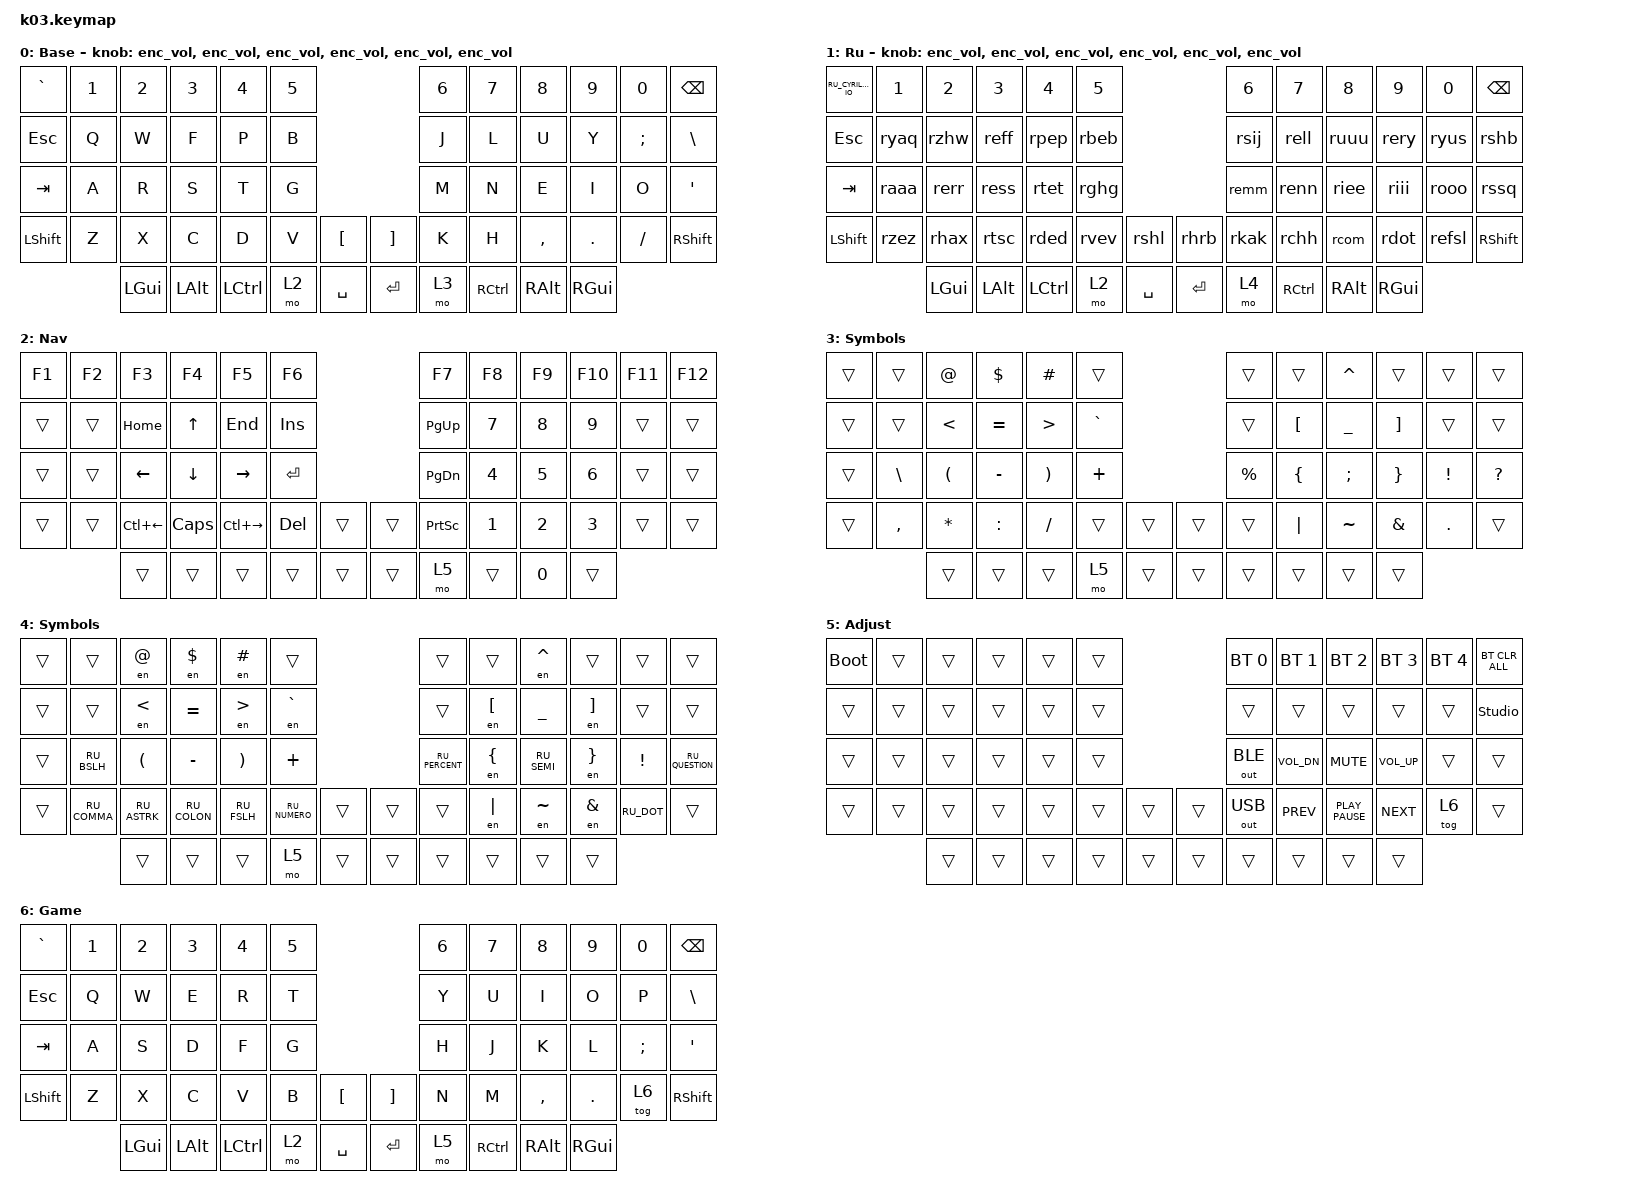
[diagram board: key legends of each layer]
#include "keys_ru.h"
#include <behaviors.dtsi>
#include <dt-bindings/zmk/modifiers.h>
#include <dt-bindings/zmk/bt.h>
#include <dt-bindings/zmk/keys.h>
#include <dt-bindings/zmk/outputs.h>

/ {
    behaviors {
        enc_vol: enc_vol {
            compatible = "zmk,behavior-sensor-rotate";
            label = "ENC_VOL";
            #sensor-binding-cells = <0>;
            bindings = <&kp C_VOL_UP>, <&kp C_VOL_DN>;
        };
        ryaq: ryaq { compatible = "zmk,behavior-mod-morph"; #binding-cells = <0>; bindings = <&kp RU_CYRILLIC_YA>, <&kp Q>; mods = <(MOD_LCTL|MOD_RCTL|MOD_LGUI|MOD_RGUI)>; keep-mods = <(MOD_LCTL|MOD_RCTL|MOD_LGUI|MOD_RGUI)>; };
        rzhw: rzhw { compatible = "zmk,behavior-mod-morph"; #binding-cells = <0>; bindings = <&kp RU_CYRILLIC_ZHE>, <&kp W>; mods = <(MOD_LCTL|MOD_RCTL|MOD_LGUI|MOD_RGUI)>; keep-mods = <(MOD_LCTL|MOD_RCTL|MOD_LGUI|MOD_RGUI)>; };
        reff: reff { compatible = "zmk,behavior-mod-morph"; #binding-cells = <0>; bindings = <&kp RU_CYRILLIC_EF>, <&kp F>; mods = <(MOD_LCTL|MOD_RCTL|MOD_LGUI|MOD_RGUI)>; keep-mods = <(MOD_LCTL|MOD_RCTL|MOD_LGUI|MOD_RGUI)>; };
        rpep: rpep { compatible = "zmk,behavior-mod-morph"; #binding-cells = <0>; bindings = <&kp RU_CYRILLIC_PE>, <&kp P>; mods = <(MOD_LCTL|MOD_RCTL|MOD_LGUI|MOD_RGUI)>; keep-mods = <(MOD_LCTL|MOD_RCTL|MOD_LGUI|MOD_RGUI)>; };
        rbeb: rbeb { compatible = "zmk,behavior-mod-morph"; #binding-cells = <0>; bindings = <&kp RU_CYRILLIC_BE>, <&kp B>; mods = <(MOD_LCTL|MOD_RCTL|MOD_LGUI|MOD_RGUI)>; keep-mods = <(MOD_LCTL|MOD_RCTL|MOD_LGUI|MOD_RGUI)>; };
        rsij: rsij { compatible = "zmk,behavior-mod-morph"; #binding-cells = <0>; bindings = <&kp RU_CYRILLIC_SHORT_I>, <&kp J>; mods = <(MOD_LCTL|MOD_RCTL|MOD_LGUI|MOD_RGUI)>; keep-mods = <(MOD_LCTL|MOD_RCTL|MOD_LGUI|MOD_RGUI)>; };
        rell: rell { compatible = "zmk,behavior-mod-morph"; #binding-cells = <0>; bindings = <&kp RU_CYRILLIC_EL>, <&kp L>; mods = <(MOD_LCTL|MOD_RCTL|MOD_LGUI|MOD_RGUI)>; keep-mods = <(MOD_LCTL|MOD_RCTL|MOD_LGUI|MOD_RGUI)>; };
        ruuu: ruuu { compatible = "zmk,behavior-mod-morph"; #binding-cells = <0>; bindings = <&kp RU_CYRILLIC_U>, <&kp U>; mods = <(MOD_LCTL|MOD_RCTL|MOD_LGUI|MOD_RGUI)>; keep-mods = <(MOD_LCTL|MOD_RCTL|MOD_LGUI|MOD_RGUI)>; };
        rery: rery { compatible = "zmk,behavior-mod-morph"; #binding-cells = <0>; bindings = <&kp RU_CYRILLIC_YERU>, <&kp Y>; mods = <(MOD_LCTL|MOD_RCTL|MOD_LGUI|MOD_RGUI)>; keep-mods = <(MOD_LCTL|MOD_RCTL|MOD_LGUI|MOD_RGUI)>; };
        ryus: ryus { compatible = "zmk,behavior-mod-morph"; #binding-cells = <0>; bindings = <&kp RU_CYRILLIC_YU>, <&kp SEMI>; mods = <(MOD_LCTL|MOD_RCTL|MOD_LGUI|MOD_RGUI)>; keep-mods = <(MOD_LCTL|MOD_RCTL|MOD_LGUI|MOD_RGUI)>; };
        rshb: rshb { compatible = "zmk,behavior-mod-morph"; #binding-cells = <0>; bindings = <&kp RU_CYRILLIC_SHA>, <&kp BSLH>; mods = <(MOD_LCTL|MOD_RCTL|MOD_LGUI|MOD_RGUI)>; keep-mods = <(MOD_LCTL|MOD_RCTL|MOD_LGUI|MOD_RGUI)>; };
        raaa: raaa { compatible = "zmk,behavior-mod-morph"; #binding-cells = <0>; bindings = <&kp RU_CYRILLIC_A>, <&kp A>; mods = <(MOD_LCTL|MOD_RCTL|MOD_LGUI|MOD_RGUI)>; keep-mods = <(MOD_LCTL|MOD_RCTL|MOD_LGUI|MOD_RGUI)>; };
        rerr: rerr { compatible = "zmk,behavior-mod-morph"; #binding-cells = <0>; bindings = <&kp RU_CYRILLIC_ER>, <&kp R>; mods = <(MOD_LCTL|MOD_RCTL|MOD_LGUI|MOD_RGUI)>; keep-mods = <(MOD_LCTL|MOD_RCTL|MOD_LGUI|MOD_RGUI)>; };
        ress: ress { compatible = "zmk,behavior-mod-morph"; #binding-cells = <0>; bindings = <&kp RU_CYRILLIC_ES>, <&kp S>; mods = <(MOD_LCTL|MOD_RCTL|MOD_LGUI|MOD_RGUI)>; keep-mods = <(MOD_LCTL|MOD_RCTL|MOD_LGUI|MOD_RGUI)>; };
        rtet: rtet { compatible = "zmk,behavior-mod-morph"; #binding-cells = <0>; bindings = <&kp RU_CYRILLIC_TE>, <&kp T>; mods = <(MOD_LCTL|MOD_RCTL|MOD_LGUI|MOD_RGUI)>; keep-mods = <(MOD_LCTL|MOD_RCTL|MOD_LGUI|MOD_RGUI)>; };
        rghg: rghg { compatible = "zmk,behavior-mod-morph"; #binding-cells = <0>; bindings = <&kp RU_CYRILLIC_GHE>, <&kp G>; mods = <(MOD_LCTL|MOD_RCTL|MOD_LGUI|MOD_RGUI)>; keep-mods = <(MOD_LCTL|MOD_RCTL|MOD_LGUI|MOD_RGUI)>; };
        remm: remm { compatible = "zmk,behavior-mod-morph"; #binding-cells = <0>; bindings = <&kp RU_CYRILLIC_EM>, <&kp M>; mods = <(MOD_LCTL|MOD_RCTL|MOD_LGUI|MOD_RGUI)>; keep-mods = <(MOD_LCTL|MOD_RCTL|MOD_LGUI|MOD_RGUI)>; };
        renn: renn { compatible = "zmk,behavior-mod-morph"; #binding-cells = <0>; bindings = <&kp RU_CYRILLIC_EN>, <&kp N>; mods = <(MOD_LCTL|MOD_RCTL|MOD_LGUI|MOD_RGUI)>; keep-mods = <(MOD_LCTL|MOD_RCTL|MOD_LGUI|MOD_RGUI)>; };
        riee: riee { compatible = "zmk,behavior-mod-morph"; #binding-cells = <0>; bindings = <&kp RU_CYRILLIC_IE>, <&kp E>; mods = <(MOD_LCTL|MOD_RCTL|MOD_LGUI|MOD_RGUI)>; keep-mods = <(MOD_LCTL|MOD_RCTL|MOD_LGUI|MOD_RGUI)>; };
        riii: riii { compatible = "zmk,behavior-mod-morph"; #binding-cells = <0>; bindings = <&kp RU_CYRILLIC_I>, <&kp I>; mods = <(MOD_LCTL|MOD_RCTL|MOD_LGUI|MOD_RGUI)>; keep-mods = <(MOD_LCTL|MOD_RCTL|MOD_LGUI|MOD_RGUI)>; };
        rooo: rooo { compatible = "zmk,behavior-mod-morph"; #binding-cells = <0>; bindings = <&kp RU_CYRILLIC_O>, <&kp O>; mods = <(MOD_LCTL|MOD_RCTL|MOD_LGUI|MOD_RGUI)>; keep-mods = <(MOD_LCTL|MOD_RCTL|MOD_LGUI|MOD_RGUI)>; };
        rssq: rssq { compatible = "zmk,behavior-mod-morph"; #binding-cells = <0>; bindings = <&kp RU_CYRILLIC_SOFT_SIGN>, <&kp SQT>; mods = <(MOD_LCTL|MOD_RCTL|MOD_LGUI|MOD_RGUI)>; keep-mods = <(MOD_LCTL|MOD_RCTL|MOD_LGUI|MOD_RGUI)>; };
        rzez: rzez { compatible = "zmk,behavior-mod-morph"; #binding-cells = <0>; bindings = <&kp RU_CYRILLIC_ZE>, <&kp Z>; mods = <(MOD_LCTL|MOD_RCTL|MOD_LGUI|MOD_RGUI)>; keep-mods = <(MOD_LCTL|MOD_RCTL|MOD_LGUI|MOD_RGUI)>; };
        rhax: rhax { compatible = "zmk,behavior-mod-morph"; #binding-cells = <0>; bindings = <&kp RU_CYRILLIC_HA>, <&kp X>; mods = <(MOD_LCTL|MOD_RCTL|MOD_LGUI|MOD_RGUI)>; keep-mods = <(MOD_LCTL|MOD_RCTL|MOD_LGUI|MOD_RGUI)>; };
        rtsc: rtsc { compatible = "zmk,behavior-mod-morph"; #binding-cells = <0>; bindings = <&kp RU_CYRILLIC_TSE>, <&kp C>; mods = <(MOD_LCTL|MOD_RCTL|MOD_LGUI|MOD_RGUI)>; keep-mods = <(MOD_LCTL|MOD_RCTL|MOD_LGUI|MOD_RGUI)>; };
        rded: rded { compatible = "zmk,behavior-mod-morph"; #binding-cells = <0>; bindings = <&kp RU_CYRILLIC_DE>, <&kp D>; mods = <(MOD_LCTL|MOD_RCTL|MOD_LGUI|MOD_RGUI)>; keep-mods = <(MOD_LCTL|MOD_RCTL|MOD_LGUI|MOD_RGUI)>; };
        rvev: rvev { compatible = "zmk,behavior-mod-morph"; #binding-cells = <0>; bindings = <&kp RU_CYRILLIC_VE>, <&kp V>; mods = <(MOD_LCTL|MOD_RCTL|MOD_LGUI|MOD_RGUI)>; keep-mods = <(MOD_LCTL|MOD_RCTL|MOD_LGUI|MOD_RGUI)>; };
        rshl: rshl { compatible = "zmk,behavior-mod-morph"; #binding-cells = <0>; bindings = <&kp RU_CYRILLIC_SHCHA>, <&kp LBKT>; mods = <(MOD_LCTL|MOD_RCTL|MOD_LGUI|MOD_RGUI)>; keep-mods = <(MOD_LCTL|MOD_RCTL|MOD_LGUI|MOD_RGUI)>; };
        rhrb: rhrb { compatible = "zmk,behavior-mod-morph"; #binding-cells = <0>; bindings = <&kp RU_CYRILLIC_HARD_SIGN>, <&kp RBKT>; mods = <(MOD_LCTL|MOD_RCTL|MOD_LGUI|MOD_RGUI)>; keep-mods = <(MOD_LCTL|MOD_RCTL|MOD_LGUI|MOD_RGUI)>; };
        rkak: rkak { compatible = "zmk,behavior-mod-morph"; #binding-cells = <0>; bindings = <&kp RU_CYRILLIC_KA>, <&kp K>; mods = <(MOD_LCTL|MOD_RCTL|MOD_LGUI|MOD_RGUI)>; keep-mods = <(MOD_LCTL|MOD_RCTL|MOD_LGUI|MOD_RGUI)>; };
        rchh: rchh { compatible = "zmk,behavior-mod-morph"; #binding-cells = <0>; bindings = <&kp RU_CYRILLIC_CHE>, <&kp H>; mods = <(MOD_LCTL|MOD_RCTL|MOD_LGUI|MOD_RGUI)>; keep-mods = <(MOD_LCTL|MOD_RCTL|MOD_LGUI|MOD_RGUI)>; };
        rcom: rcom { compatible = "zmk,behavior-mod-morph"; #binding-cells = <0>; bindings = <&kp RU_COMMA>, <&kp COMMA>; mods = <(MOD_LCTL|MOD_RCTL|MOD_LGUI|MOD_RGUI)>; keep-mods = <(MOD_LCTL|MOD_RCTL|MOD_LGUI|MOD_RGUI)>; };
        rdot: rdot { compatible = "zmk,behavior-mod-morph"; #binding-cells = <0>; bindings = <&kp RU_DOT>, <&kp DOT>; mods = <(MOD_LCTL|MOD_RCTL|MOD_LGUI|MOD_RGUI)>; keep-mods = <(MOD_LCTL|MOD_RCTL|MOD_LGUI|MOD_RGUI)>; };
        refsl: refsl { compatible = "zmk,behavior-mod-morph"; #binding-cells = <0>; bindings = <&kp RU_CYRILLIC_E>, <&kp FSLH>; mods = <(MOD_LCTL|MOD_RCTL|MOD_LGUI|MOD_RGUI)>; keep-mods = <(MOD_LCTL|MOD_RCTL|MOD_LGUI|MOD_RGUI)>; };
    };

    combos {
        compatible = "zmk,combos";

        cmben {
            bindings = <&layer_en>;
            key-positions = <15 16>;
            layers = <1>;
        };

        cmbru {
            bindings = <&layer_ru>;
            key-positions = <15 16>;
            layers = <0>;
        };
    };

    macros {
        to_ru: to_ru {
            compatible = "zmk,behavior-macro";
            #binding-cells = <0>;
            bindings =
                <&macro_press>,
                <&kp LCTRL>,
                <&kp LSHFT>,
                <&macro_tap>,
                <&kp N2>,
                <&macro_release>,
                <&kp LSHFT>,
                <&kp LCTRL>;
            label = "TO_RU";
            wait-ms = <0>;
            tap-ms = <30>;
        };

        to_en: to_en {
            compatible = "zmk,behavior-macro";
            #binding-cells = <0>;
            bindings =
                <&macro_press>,
                <&kp LCTRL>,
                <&kp LSHFT>,
                <&macro_tap>,
                <&kp N1>,
                <&macro_release>,
                <&kp LSHFT>,
                <&kp LCTRL>;
            label = "TO_EN";
            wait-ms = <0>;
            tap-ms = <30>;
        };

        layer_en: layer_en {
            compatible = "zmk,behavior-macro";
            #binding-cells = <0>;
            bindings = <&to_en &to 0>;
            label = "LAYER_EN";
            wait-ms = <0>;
            tap-ms = <30>;
        };

        layer_ru: layer_ru {
            compatible = "zmk,behavior-macro";
            #binding-cells = <0>;
            bindings = <&to_ru &to 1>;
            label = "LAYER_RU";
            tap-ms = <30>;
            wait-ms = <0>;
        };

        en: en {
            compatible = "zmk,behavior-macro-one-param";
            #binding-cells = <1>;
            bindings =
                <&to_en>,
                <&macro_press>,
                <&macro_param_1to1 &kp MACRO_PLACEHOLDER>,
                <&macro_pause_for_release>,
                <&macro_release>,
                <&macro_param_1to1 &kp MACRO_PLACEHOLDER>,
                <&macro_tap>,
                <&to_ru>;

            label = "EN";
            wait-ms = <0>;
            tap-ms = <30>;
        };
    };

    keymap {
        compatible = "zmk,keymap";

        en {
            bindings = <
&kp GRAVE  &kp N1  &kp N2    &kp N3    &kp N4     &kp N5                          &kp N6  &kp N7     &kp N8     &kp N9    &kp N0    &kp BSPC
&kp ESC    &kp Q   &kp W     &kp F     &kp P      &kp B                           &kp J   &kp L      &kp U      &kp Y     &kp SEMI  &kp BSLH
&kp TAB    &kp A   &kp R     &kp S     &kp T      &kp G                           &kp M   &kp N      &kp E      &kp I     &kp O     &kp SQT
&kp LSHFT  &kp Z   &kp X     &kp C     &kp D      &kp V   &kp LBKT     &kp RBKT   &kp K   &kp H      &kp COMMA  &kp DOT   &kp FSLH  &kp RSHFT
                   &kp LGUI  &kp LALT  &kp LCTRL  &mo 2   &kp SPACE    &kp ENTER  &mo 3   &kp RCTRL  &kp RALT   &kp RGUI
            >;

            display-name = "Base";
            sensor-bindings =
                <&enc_vol>,
                <&enc_vol>,
                <&enc_vol>,
                <&enc_vol>,
                <&enc_vol>,
                <&enc_vol>;
        };

        ru {
            display-name = "Ru";
            bindings = <
&kp RU_CYRILLIC_IO  &kp N1                   &kp N2                &kp N3               &kp N4              &kp N5                                                               &kp N6                   &kp N7                    &kp N8              &kp N9                 &kp N0               &kp BSPC
&kp ESC    &ryaq                 &rzhw             &reff             &rpep            &rbeb                                                           &rsij            &rell                  &ruuu            &rery             &ryus         &rshb
&kp TAB    &raaa                  &rerr              &ress             &rtet            &rghg                                                          &remm                 &renn                  &riee           &riii                &rooo             &rssq
&kp LSHFT  &rzez                 &rhax              &rtsc            &rded            &rvev        &rshl             &rhrb              &rkak                 &rchh                 &rcom    &rdot           &refsl          &kp RSHFT
                                    &kp LGUI              &kp LALT             &kp LCTRL           &mo 2               &kp SPACE             &kp ENTER                  &mo 4                    &kp RCTRL                 &kp RALT            &kp RGUI
            >;

            sensor-bindings =
                <&enc_vol>,
                <&enc_vol>,
                <&enc_vol>,
                <&enc_vol>,
                <&enc_vol>,
                <&enc_vol>;
        };

        nav {
            bindings = <
&kp F1  &kp F2  &kp F3        &kp F4    &kp F5         &kp F6                     &kp F7           &kp F8  &kp F9  &kp F10  &kp F11  &kp F12
&trans  &trans  &kp HOME      &kp UP    &kp END        &kp INS                    &kp PG_UP        &kp N7  &kp N8  &kp N9   &trans   &trans
&trans  &trans  &kp LEFT      &kp DOWN  &kp RIGHT      &kp RET                    &kp PG_DN        &kp N4  &kp N5  &kp N6   &trans   &trans
&trans  &trans  &kp LC(LEFT)  &kp CAPS  &kp LC(RIGHT)  &kp DEL  &trans    &trans  &kp PRINTSCREEN  &kp N1  &kp N2  &kp N3   &trans   &trans
                &trans        &trans    &trans         &trans   &trans    &trans  &mo 5            &trans  &kp N0  &trans
            >;

            display-name = "Nav";
        };

        sym_en {
            bindings = <
&trans  &trans     &kp AT    &kp DLLR   &kp HASH  &trans                       &trans     &trans    &kp CARET  &trans    &trans    &trans
&trans  &trans     &kp LT    &kp EQUAL  &kp GT    &kp GRAVE                    &trans     &kp LBKT  &kp UNDER  &kp RBKT  &trans    &trans
&trans  &kp BSLH   &kp LPAR  &kp MINUS  &kp RPAR  &kp PLUS                     &kp PRCNT  &kp LBRC  &kp SEMI   &kp RBRC  &kp EXCL  &kp QUESTION
&trans  &kp COMMA  &kp STAR  &kp COLON  &kp FSLH  &trans     &trans    &trans  &trans     &kp PIPE  &kp TILDE  &kp AMPS  &kp DOT   &trans
                   &trans    &trans     &trans    &mo 5      &trans    &trans  &trans     &trans    &trans     &trans
            >;

            display-name = "Symbols";
        };

        sym_ru {
            display-name = "Symbols";
            bindings = <
&trans  &trans        &en AT        &en DLLR      &en HASH     &trans                           &trans          &trans    &en CARET    &trans    &trans      &trans
&trans  &trans        &en LT        &kp EQUAL     &en GT       &en GRAVE                        &trans          &en LBKT  &kp UNDER    &en RBKT  &trans      &trans
&trans  &kp RU_BSLH   &kp LPAR      &kp MINUS     &kp RPAR     &kp PLUS                         &kp RU_PERCENT  &en LBRC  &kp RU_SEMI  &en RBRC  &kp EXCL    &kp RU_QUESTION
&trans  &kp RU_COMMA  &kp RU_ASTRK  &kp RU_COLON  &kp RU_FSLH  &kp RU_NUMERO  &trans    &trans  &trans          &en PIPE  &en TILDE    &en AMPS  &kp RU_DOT  &trans
                      &trans        &trans        &trans       &mo 5          &trans    &trans  &trans          &trans    &trans       &trans
            >;
        };

        adj {
            bindings = <
&bootloader  &trans  &trans  &trans  &trans  &trans                    &bt BT_SEL 0  &bt BT_SEL 1  &bt BT_SEL 2      &bt BT_SEL 3  &bt BT_SEL 4  &bt BT_CLR_ALL
&trans       &trans  &trans  &trans  &trans  &trans                    &trans        &trans        &trans            &trans        &trans        &studio_unlock
&trans       &trans  &trans  &trans  &trans  &trans                    &out OUT_BLE  &kp C_VOL_DN  &kp K_MUTE        &kp C_VOL_UP  &trans        &trans
&trans       &trans  &trans  &trans  &trans  &trans  &trans    &trans  &out OUT_USB  &kp K_PREV    &kp K_PLAY_PAUSE  &kp K_NEXT    &tog 6        &trans
                     &trans  &trans  &trans  &trans  &trans    &trans  &trans        &trans        &trans            &trans
            >;

            display-name = "Adjust";
        };
        game {
            bindings = <
&kp GRAVE  &kp N1  &kp N2  &kp N3  &kp N4  &kp N5                    &kp N6  &kp N7    &kp N8     &kp N9     &kp N0     &kp BSPC
&kp ESC    &kp Q   &kp W   &kp E   &kp R   &kp T                     &kp Y   &kp U     &kp I      &kp O      &kp P      &kp BSLH
&kp TAB    &kp A   &kp S   &kp D   &kp F   &kp G                     &kp H   &kp J     &kp K      &kp L      &kp SEMI   &kp SQT
&kp LSHFT  &kp Z   &kp X   &kp C   &kp V   &kp B   &kp LBKT  &kp RBKT  &kp N   &kp M     &kp COMMA  &kp DOT    &tog 6     &kp RSHFT
                   &kp LGUI  &kp LALT  &kp LCTRL  &mo 2   &kp SPACE   &kp ENTER  &mo 5   &kp RCTRL  &kp RALT   &kp RGUI
            >;

            display-name = "Game";
        };
    };
};
